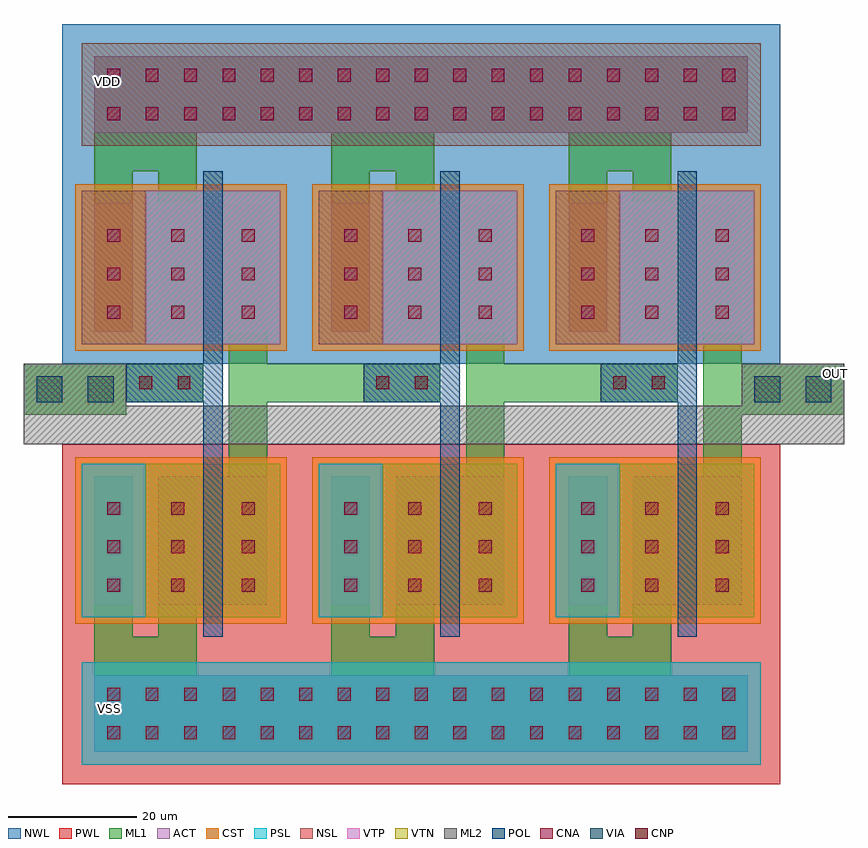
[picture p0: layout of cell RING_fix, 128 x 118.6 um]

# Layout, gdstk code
import gdstk
lib = gdstk.Library(unit=1e-6, precision=1e-09)
def R(c, l, rs):  # rectangles x0, y0, x1, y1
    for r in rs: c.add(gdstk.rectangle(r[:2], r[2:], *l))
def A(c, l, x, y, w, h, nx, ny, dx, dy):  # array of equal rectangles
    R(c, l, [(x+i*dx, y+j*dy, x+i*dx+w, y+j*dy+h) for i in range(nx) for j in range(ny)])
NWL = (1, 0)
PWL = (2, 0)
CST = (3, 0)
ACT = (4, 0)
VTN = (5, 0)
VTP = (6, 0)
POL = (7, 0)
NSL = (8, 0)
PSL = (9, 0)
CNA = (10, 0)
CNP = (11, 0)
ML1 = (12, 0)
VIA = (13, 0)
ML2 = (14, 0)

ring_fix = lib.new_cell('RING_fix')
R(ring_fix, NWL, [(18,75.6,130,128.6), (55,75.6,92,105.6), (92,75.6,130,105.6)])
R(ring_fix, PWL, [(18,10,130,63), (55,33,92,63), (92,33,130,63)])
A(ring_fix, CST, 20, 35, 33, 26, 3, 2, 37, 42.6)
A(ring_fix, ACT, 23, 15, 6, 6, 17, 2, 6, 6)
A(ring_fix, ACT, 23, 38, 6, 20, 3, 2, 37, 42.6)
A(ring_fix, ACT, 33, 38, 17, 20, 3, 2, 37, 42.6)
A(ring_fix, ACT, 33, 80.6, 6, 6, 1, 3, 0, 6)
A(ring_fix, ACT, 44, 80.6, 6, 6, 1, 3, 0, 6)
A(ring_fix, ACT, 70, 80.6, 6, 6, 1, 3, 0, 6)
A(ring_fix, ACT, 81, 80.6, 6, 6, 1, 3, 0, 6)
A(ring_fix, ACT, 107, 80.6, 6, 6, 1, 3, 0, 6)
A(ring_fix, ACT, 118, 80.6, 6, 6, 1, 3, 0, 6)
A(ring_fix, ACT, 23, 111.6, 6, 6, 17, 2, 6, 6)
R(ring_fix, ACT, [(23,86.6,29,92.6), (60,86.6,66,92.6), (97,86.6,103,92.6)])
A(ring_fix, VTN, 31, 36, 21, 24, 3, 1, 37, 0)
A(ring_fix, VTP, 31, 78.6, 21, 24, 3, 1, 37, 0)
A(ring_fix, POL, 40, 33, 3, 36, 3, 1, 37, 0)
A(ring_fix, POL, 40, 68, 3, 37.6, 3, 1, 37, 0)
A(ring_fix, POL, 28, 69.6, 12, 6, 3, 1, 37, 0)
A(ring_fix, NSL, 31, 36, 21, 24, 3, 1, 37, 0)
A(ring_fix, NSL, 21, 78.6, 10, 24, 3, 1, 37, 0)
R(ring_fix, NSL, [(21,109.6,127,125.6)])
A(ring_fix, PSL, 21, 36, 10, 24, 3, 1, 37, 0)
A(ring_fix, PSL, 31, 78.6, 21, 24, 3, 1, 37, 0)
R(ring_fix, PSL, [(21,13,127,29)])
A(ring_fix, CNA, 25, 17, 2, 2, 17, 2, 6, 6)
A(ring_fix, CNA, 25, 40, 2, 2, 1, 3, 0, 6)
A(ring_fix, CNA, 35, 40, 2, 2, 1, 3, 0, 6)
A(ring_fix, CNA, 46, 40, 2, 2, 1, 3, 0, 6)
A(ring_fix, CNA, 62, 40, 2, 2, 1, 3, 0, 6)
A(ring_fix, CNA, 72, 40, 2, 2, 1, 3, 0, 6)
A(ring_fix, CNA, 83, 40, 2, 2, 1, 3, 0, 6)
A(ring_fix, CNA, 99, 40, 2, 2, 1, 3, 0, 6)
A(ring_fix, CNA, 109, 40, 2, 2, 1, 3, 0, 6)
A(ring_fix, CNA, 120, 40, 2, 2, 1, 3, 0, 6)
A(ring_fix, CNA, 25, 82.6, 2, 2, 1, 3, 0, 6)
A(ring_fix, CNA, 35, 82.6, 2, 2, 1, 3, 0, 6)
A(ring_fix, CNA, 46, 82.6, 2, 2, 1, 3, 0, 6)
A(ring_fix, CNA, 62, 82.6, 2, 2, 1, 3, 0, 6)
A(ring_fix, CNA, 72, 82.6, 2, 2, 1, 3, 0, 6)
A(ring_fix, CNA, 83, 82.6, 2, 2, 1, 3, 0, 6)
A(ring_fix, CNA, 99, 82.6, 2, 2, 1, 3, 0, 6)
A(ring_fix, CNA, 109, 82.6, 2, 2, 1, 3, 0, 6)
A(ring_fix, CNA, 120, 82.6, 2, 2, 1, 3, 0, 6)
A(ring_fix, CNA, 25, 113.6, 2, 2, 17, 2, 6, 6)
R(ring_fix, CNP, [(30,71.6,32,73.6), (36,71.6,38,73.6), (67,71.6,69,73.6), (73,71.6,75,73.6), (104,71.6,106,73.6), (110,71.6,112,73.6)])
A(ring_fix, ML1, 23, 15, 6, 6, 17, 2, 6, 6)
A(ring_fix, ML1, 27, 27, 8, 6, 3, 2, 37, 78.6)
A(ring_fix, ML1, 44, 50, 6, 9, 3, 1, 37, 0)
A(ring_fix, ML1, 44, 57, 6, 25, 3, 1, 37, 0)
A(ring_fix, ML1, 23, 92.6, 6, 19, 3, 1, 37, 0)
A(ring_fix, ML1, 33, 92.6, 6, 9, 3, 1, 37, 0)
A(ring_fix, ML1, 44, 92.6, 6, 8, 3, 1, 37, 0)
A(ring_fix, ML1, 33, 99.9, 6, 11.7, 3, 1, 37, 0)
A(ring_fix, ML1, 23, 111.6, 6, 6, 17, 2, 6, 6)
R(ring_fix, ML1, [(23,27,29,39), (33,27,39,39), (60,27,66,39), (70,27,76,39), (97,27,103,39), (107,27,113,39), (23,38,29,44), (33,38,39,44), (44,38,50,44), (60,38,66,44), (70,38,76,44), (81,38,87,44), (97,38,103,44), (107,38,113,44), (118,38,124,44), (23,44,29,50), (33,44,39,50), (44,44,50,50), (60,44,66,50), (70,44,76,50), (81,44,87,50), (97,44,103,50), (107,44,113,50), (118,44,124,50), (23,50,29,58), (33,50,39,58), (60,50,66,58), (70,50,76,58), (97,50,103,58), (107,50,113,58), (12,67.6,20,75.6), (20,67.6,28,75.6), (124,67.6,132,75.6), (132,67.6,140,75.6), (28,69.6,34,75.6), (34,69.6,40,75.6), (46,69.6,65,75.6), (65,69.6,71,75.6), (71,69.6,77,75.6), (83,69.6,102,75.6), (102,69.6,108,75.6), (108,69.6,114,75.6), (23,80.6,29,86.6), (33,80.6,39,86.6), (44,80.6,50,86.6), (60,80.6,66,86.6), (70,80.6,76,86.6), (81,80.6,87,86.6), (97,80.6,103,86.6), (107,80.6,113,86.6), (118,80.6,124,86.6), (23,86.6,29,92.6), (33,86.6,39,92.6), (44,86.6,50,92.6), (60,86.6,66,92.6), (70,86.6,76,92.6), (81,86.6,87,92.6), (97,86.6,103,92.6), (107,86.6,113,92.6), (118,86.6,124,92.6)])
R(ring_fix, VIA, [(14,69.6,18,73.6), (22,69.6,26,73.6), (126,69.6,130,73.6), (134,69.6,138,73.6)])
R(ring_fix, ML2, [(12,63,140,69), (12,67.6,20,75.6), (20,67.6,28,75.6), (124,67.6,132,75.6), (132,67.6,140,75.6)])
ring_fix.add(gdstk.Label('VSS', (25.3,21.8), layer=31, texttype=0))
ring_fix.add(gdstk.Label('OUT', (138.7,74), layer=31, texttype=0))
ring_fix.add(gdstk.Label('VDD', (25,119.6), layer=31, texttype=0))

lib.write_gds('RING_fix.gds')
